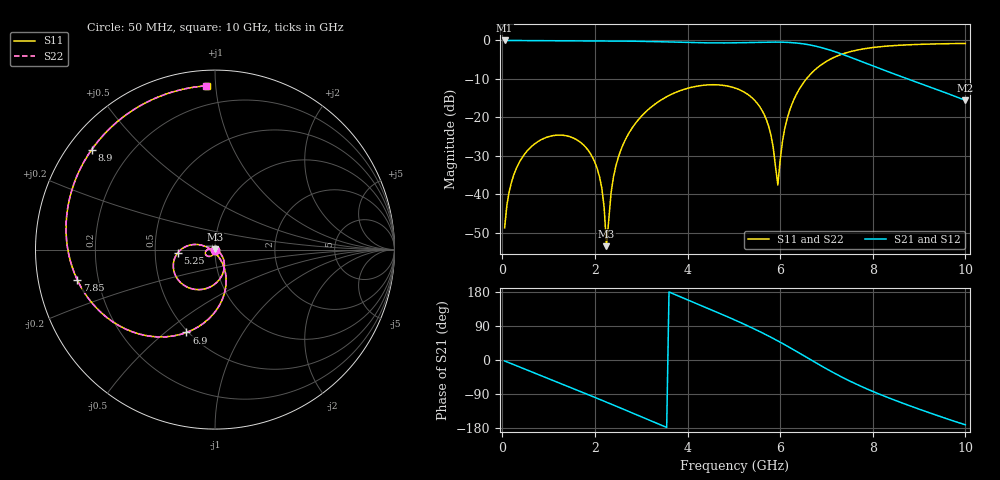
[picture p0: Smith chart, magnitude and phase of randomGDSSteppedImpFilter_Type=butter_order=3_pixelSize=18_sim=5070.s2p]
! freq	dB(S11)	phase(S11)	dB(S12)	phase(S12)
!  dB(S21)	phase(S21)	dB(S22)	phase(S22)
!S-par simulation data
#  GHz  S  DB  R 50
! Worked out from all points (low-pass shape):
!   200 points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, 50 MHz to 10 GHz, reference 50 ohm
!   highest |S21| = 0.00 dB at 50 MHz (marker M1); lowest = -15.6 dB at 10 GHz (marker M2)
!   |S21| within 3 dB of the highest: start of sweep to 7.203 GHz
!   lowest |S11| = -53.5 dB at 2.25 GHz (marker M3), VSWR 1.00, Z = 50 + j0.211 ohm
!   |S11| at or under -10 dB: start of sweep to 6.567 GHz
!   |S22| runs from -53.6 to -0.8 dB; largest |S21 - S12| = 0
!   S11 on the Smith chart (normalised r, x): 50 MHz: 1.00, -0.01; 5.25 GHz: 0.66, -0.02; 6.9 GHz: 0.49, -0.59; 7.85 GHz: 0.12, -0.11; 8.9 GHz: 0.07, +0.35; 10 GHz: 0.09, +0.95
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0.05  -48.74 -91.4  -0.00 -2.5  -0.00 -2.5  -48.74 -91.4
0.2  -36.78 -99.9  -0.02 -9.9  -0.02 -9.9  -36.78 -99.8
0.55  -28.55 -117.6  -0.04 -27.1  -0.04 -27.1  -28.55 -117.6
1.75  -27.13 -178.3  -0.11 -86.2  -0.11 -86.2  -27.13 -178.2
2.1  -35.48 161.5  -0.12 -103.7  -0.12 -103.7  -35.48 161.6
2.2  -43.47 149.6  -0.12 -108.8  -0.12 -108.8  -43.47 149.9
2.25  -53.49 94.5  -0.13 -111.3  -0.13 -111.3  -53.59 94.7
2.35  -39.52 -20.1  -0.13 -116.3  -0.13 -116.3  -39.52 -20.3
2.55  -28.81 -35.2  -0.15 -126.5  -0.15 -126.5  -28.81 -35.2
3.4  -15.70 -80.2  -0.34 -170.2  -0.34 -170.2  -15.70 -80.1
4.15  -12.02 -118.5  -0.57 151.2  -0.57 151.2  -12.02 -118.4
5.05  -12.47 -164.5  -0.62 104.0  -0.62 104.0  -12.47 -164.5
5.25  -13.62 -175.0  -0.57 93.0  -0.57 93.0  -13.62 -175.0
5.7  -20.51 163.0  -0.45 66.4  -0.45 66.4  -20.51 163.1
5.95  -37.56 -120.3  -0.43 50.4  -0.43 50.4  -37.60 -120.2
6.2  -18.37 -63.9  -0.53 33.4  -0.53 33.4  -18.37 -63.7
6.7  -8.23 -95.2  -1.31 -2.2  -1.31 -2.2  -8.23 -95.1
6.9  -6.22 -109.1  -1.89 -16.3  -1.89 -16.3  -6.22 -108.9
7.85  -2.09 -167.7  -5.91 -75.0  -5.91 -75.0  -2.09 -167.6
8.35  -1.43 166.7  -8.21 -100.2  -8.21 -100.2  -1.43 166.8
8.9  -1.07 141.0  -10.65 -125.3  -10.65 -125.3  -1.07 141.2
10  -0.78 92.9  -15.58 -171.1  -15.58 -171.1  -0.78 93.1
